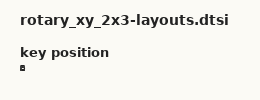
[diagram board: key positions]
#include <physical_layouts.dtsi>

/ {
    physical_layout0: physical_layout_0 {
        compatible = "zmk,physical-layout";
        display-name = "Default Layout";
        transform = <&default_transform>;
        kscan = <&kscan0>; 
        
        // Coordinates map to Matrix grid layout positions: <ROW COL ROTATION WIDTH HEIGHT X_OFFSET Y_OFFSET>
        keys
            = <&key_physical_attrs 0 0 0 100 100    0    0> // Row 0, Col 0 (Top Left)
            , <&key_physical_attrs 0 1 0 100 100  100    0> // Row 0, Col 1 (Top Mid)
            , <&key_physical_attrs 0 2 0 100 100  200    0> // Row 0, Col 2 (Top Right)
            , <&key_physical_attrs 1 0 0 100 100    0  100> // Row 1, Col 0 (Bottom Left)
            , <&key_physical_attrs 1 1 0 100 100  100  100> // Row 1, Col 1 (Bottom Mid)
            , <&key_physical_attrs 1 2 0 100 100  200  100> // Row 1, Col 2 (Bottom Right)
            ;
    };
};
